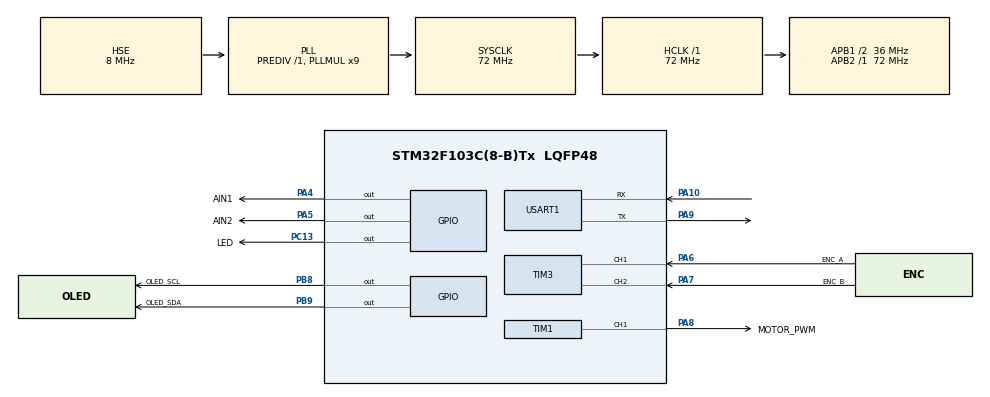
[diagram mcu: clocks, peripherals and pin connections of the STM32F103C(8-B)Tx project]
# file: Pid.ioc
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Mcu.Family=STM32F1
Mcu.Name=STM32F103C(8-B)Tx
Mcu.Package=LQFP48
NVIC.PriorityGroup=NVIC_PRIORITYGROUP_4
NVIC.TIM2_IRQn=true\:1\:0\:true\:false\:true\:true\:true\:true
NVIC.USART1_IRQn=true\:2\:0\:true\:false\:true\:true\:true\:true
PA10.Mode=Asynchronous
PA10.Signal=USART1_RX
PA13.Mode=Serial_Wire
PA13.Signal=SYS_JTMS-SWDIO
PA14.Mode=Serial_Wire
PA14.Signal=SYS_JTCK-SWCLK
PA4.GPIO_Label=AIN1
PA4.GPIO_Speed=GPIO_SPEED_FREQ_HIGH
PA4.Signal=GPIO_Output
PA5.GPIO_Label=AIN2
PA5.GPIO_Speed=GPIO_SPEED_FREQ_HIGH
PA5.Signal=GPIO_Output
PA6.GPIO_Label=ENC_A
PA6.GPIO_PuPd=GPIO_PULLUP
PA6.Signal=S_TIM3_CH1
PA7.GPIO_Label=ENC_B
PA7.GPIO_PuPd=GPIO_PULLUP
PA7.Signal=S_TIM3_CH2
PA8.GPIO_Label=MOTOR_PWM
PA8.GPIO_Speed=GPIO_SPEED_FREQ_HIGH
PA8.Signal=S_TIM1_CH1
PA9.Mode=Asynchronous
PA9.Signal=USART1_TX
PB8.GPIO_Label=OLED_SCL
PB8.GPIO_ModeDefaultOutputPP=GPIO_MODE_OUTPUT_OD
PB8.GPIO_PuPd=GPIO_NOPULL
PB8.GPIO_Speed=GPIO_SPEED_FREQ_HIGH
PB8.PinState=GPIO_PIN_SET
PB8.Signal=GPIO_Output
PB9.GPIO_Label=OLED_SDA
PB9.GPIO_ModeDefaultOutputPP=GPIO_MODE_OUTPUT_OD
PB9.GPIO_PuPd=GPIO_NOPULL
PB9.GPIO_Speed=GPIO_SPEED_FREQ_HIGH
PB9.PinState=GPIO_PIN_SET
PB9.Signal=GPIO_Output
PC13-TAMPER-RTC.GPIO_Label=LED
PC13-TAMPER-RTC.PinState=GPIO_PIN_SET
PC13-TAMPER-RTC.Signal=GPIO_Output
PD0-OSC_IN.Mode=HSE-External-Oscillator
PD0-OSC_IN.Signal=RCC_OSC_IN
PD1-OSC_OUT.Mode=HSE-External-Oscillator
PD1-OSC_OUT.Signal=RCC_OSC_OUT
ProjectManager.HeapSize=0x200
ProjectManager.StackSize=0x400
ProjectManager.TargetToolchain=CMake
RCC.AHBFreq_Value=72000000
RCC.APB1CLKDivider=RCC_HCLK_DIV2
RCC.APB1Freq_Value=36000000
RCC.APB1TimFreq_Value=72000000
RCC.APB2Freq_Value=72000000
RCC.APB2TimFreq_Value=72000000
RCC.HCLKFreq_Value=72000000
RCC.PLLMUL=RCC_PLL_MUL9
RCC.PLLSourceVirtual=RCC_PLLSOURCE_HSE
RCC.SYSCLKFreq_VALUE=72000000
RCC.SYSCLKSource=RCC_SYSCLKSOURCE_PLLCLK
RCC.USBFreq_Value=72000000
SH.S_TIM1_CH1.0=TIM1_CH1,PWM Generation1 CH1
SH.S_TIM3_CH1.0=TIM3_CH1,Encoder_Interface
SH.S_TIM3_CH2.0=TIM3_CH2,Encoder_Interface
TIM1.AutoReloadPreload=TIM_AUTORELOAD_PRELOAD_ENABLE
TIM1.Channel-PWM\ Generation1\ CH1=TIM_CHANNEL_1
TIM1.Period=3600 -1
TIM2.Period=50-1
TIM2.Prescaler=7200-1
TIM3.EncoderMode=TIM_ENCODERMODE_TI12
TIM3.IC1Filter=6
TIM3.IC2Filter=6
USART1.VirtualMode=VM_ASYNC
VP_TIM2_VS_ClockSourceINT.Mode=Internal
board=custom

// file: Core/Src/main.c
/* USER CODE BEGIN Header */
/**
  ******************************************************************************
  * @file           : main.c
  * @brief          : Main program body
  ******************************************************************************
  * @attention
  *
  * Copyright (c) 2026 STMicroelectronics.
  * All rights reserved.
  *
  * This software is licensed under terms that can be found in the LICENSE file
  * in the root directory of this software component.
  * If no LICENSE file comes with this software, it is provided AS-IS.
  *
  ******************************************************************************
  */
/* USER CODE END Header */
#include "main.h"
#include "tim.h"
#include "usart.h"
#include "gpio.h"

/* USER CODE BEGIN Includes */
#include "speed-loop.h"
#include "ui.h"
#include "vofa.h"
#include "uart-link.h"
#include "cmd.h"
#include "motor.h"      /* MOTOR_EmergencyStop() */
/* USER CODE END Includes */

/* USER CODE BEGIN PV */
static uint32_t s_t_ui;     /* 上次刷 OLED 的时刻（ms） */

/* USER CODE END PV */

void SystemClock_Config(void);

int main(void)
{

  /* MCU Configuration--------------------------------------------------------*/

  /* Reset of all peripherals, Initializes the Flash interface and the Systick. */
  HAL_Init();

  /* Configure the system clock */
  SystemClock_Config();

  /* Initialize all configured peripherals */
  MX_GPIO_Init();
  MX_TIM1_Init();
  MX_TIM2_Init();
  MX_TIM3_Init();
  MX_USART1_UART_Init();
  /* USER CODE BEGIN 2 */
  /* ── 应用层初始化（都在 App/ 里，CubeMX 重新生成不会动）──
     顺序：先执行器/控制器，再显示，最后串口和心跳 —— 这样"心跳一响就开始算" */
  SpeedLoop_Init();              /* MOTOR_Init(&htim1) + PID_Init */
  UI_Init();                     /* OLED；没插屏也照样往下跑 */
  UART_Link_Init(&huart1);       /* 开 USART1 中断，开始收命令 */
  Vofa_Init(UART_Link_Write);    /* VOFA 的输出接到串口 */
  SpeedLoop_Start();             /* PWM 起振 + TIM2 的 5 ms 心跳 */

  if (CMD_GetVofa() == 0U)
  {
    UART_Link_Printf("ready. S200 | X=stop | A=step | C=calib | V=vofa | ?=status\r\n");
  }
  /* USER CODE END 2 */

  /* Infinite loop */
  while (1)
  {

    /* USER CODE BEGIN 3 */
    SpeedLoop_Telemetry_t tel;
    uint32_t now = HAL_GetTick();

    /* Serialize only read/clear operations; never print inside a critical section. */
    uint32_t irq_state = __get_PRIMASK();
    __disable_irq();
    uint8_t status_req = CMD_TakeStatusRequest();
    uint8_t vofa_toggle = CMD_TakeVofaToggle();
    if (vofa_toggle != 0U) { CMD_SetVofa(!CMD_GetVofa()); }
    uint8_t vofa_on = CMD_GetVofa();
    __set_PRIMASK(irq_state);
    if ((vofa_toggle != 0U) && (vofa_on == 0U)) { UART_Link_Printf("VOFA OFF\r\n"); }

    /* '?' 状态查询 */
    if (status_req != 0U)
    {
      SpeedLoop_GetTelemetry(&tel);
      /* 增益用 1 位小数打印：调参步长 0.5，用 (int)(x+0.5) 会把 12.5 显示成 13 */
      int kp10 = (int)(tel.kp * 10.0f + 0.5f);
      int ki10 = (int)(tel.ki * 10.0f + 0.5f);
      int kd100 = (int)(tel.kd * 100.0f + 0.5f);
      int kv10 = (int)(tel.kv * 10.0f + 0.5f);

      /* f = 故障码（0 正常），给上位机 / 自动调参判「还能不能继续跑」。
       * 字段固定、以空格分隔，解析器（../tools/pid_autotune.py）按 key=value 取。*/
      UART_Link_Printf("tgt=%d act=%d out=%d kp=%d.%d ki=%d.%d kd=%d.%02d kv=%d.%d tick=%lu rx=%lu err=%lu f=%u miss=%lu\r\n",
                       (int)(tel.target_rpm + (tel.target_rpm >= 0 ? 0.5f : -0.5f)),
                       (int)(tel.actual_rpm + (tel.actual_rpm >= 0 ? 0.5f : -0.5f)),
                       (int)(tel.out_permille + (tel.out_permille >= 0 ? 0.5f : -0.5f)),
                       kp10 / 10, kp10 % 10,
                       ki10 / 10, ki10 % 10,
                       kd100 / 100, kd100 % 100,
                       kv10 / 10, kv10 % 10,
                       (unsigned long)tel.tick,
                       (unsigned long)UART_Link_RxCount(),
                       (unsigned long)UART_Link_ErrCount(),
                       (unsigned)SpeedLoop_FaultCode(),
                       (unsigned long)Vofa_MissedTicks());

      /* 标定模式额外打一行（不打印浮点：用 ×10 的整数避开 newlib printf 浮点支持）*/
      if (tel.calib != 0U)
      {
        UART_Link_Printf("CALIB enc=%ld revx10=%ld\r\n",
                         (long)tel.enc_total,
                         (long)(tel.enc_revs * 10.0f));
      }
    }

    SpeedLoop_GetTelemetry(&tel);

    /* Live VOFA keeps its three-channel format and never replays stale samples. */
    Vofa_Poll(tel.tick, vofa_on, tel.target_rpm, tel.actual_rpm, tel.out_permille);

    /* Text feedback is useful in terminal mode, but silent while streaming. */
    {
      static int32_t last_target;
      static uint8_t last_calib, last_fault;
      uint8_t fault = SpeedLoop_FaultCode();
      if (vofa_on == 0U)
      {
        if ((int32_t)tel.target_rpm != last_target)
        {
          UART_Link_Printf("TGT %d OUT %d\r\n", (int)tel.target_rpm, (int)tel.out_permille);
        }
        if (tel.calib != last_calib) { UART_Link_Printf("CALIB %s\r\n", tel.calib ? "ON" : "OFF"); }
        if (fault != last_fault) { UART_Link_Printf("FAULT %u\r\n", (unsigned)fault); }
      }
      last_target = (int32_t)tel.target_rpm;
      last_calib = tel.calib;
      last_fault = fault;
    }
    if ((now - s_t_ui) >= 1000U)
    {
      s_t_ui = now;
      UI_Refresh(&tel); /* Format only: pads each row, no I2C transaction. */
    }
    UI_Task(tel.tick); /* One bounded display slice, after wave transmission. */
  }
  /* USER CODE END 3 */
}

void SystemClock_Config(void)
{
  RCC_OscInitTypeDef RCC_OscInitStruct = {0};
  RCC_ClkInitTypeDef RCC_ClkInitStruct = {0};

  /** Initializes the RCC Oscillators according to the specified parameters
  * in the RCC_OscInitTypeDef structure.
  */
  RCC_OscInitStruct.OscillatorType = RCC_OSCILLATORTYPE_HSE;
  RCC_OscInitStruct.HSEState = RCC_HSE_ON;
  RCC_OscInitStruct.HSEPredivValue = RCC_HSE_PREDIV_DIV1;
  RCC_OscInitStruct.HSIState = RCC_HSI_ON;
  RCC_OscInitStruct.PLL.PLLState = RCC_PLL_ON;
  RCC_OscInitStruct.PLL.PLLSource = RCC_PLLSOURCE_HSE;
  RCC_OscInitStruct.PLL.PLLMUL = RCC_PLL_MUL9;
  if (HAL_RCC_OscConfig(&RCC_OscInitStruct) != HAL_OK)
  {
    Error_Handler();
  }

  /** Initializes the CPU, AHB and APB buses clocks
  */
  RCC_ClkInitStruct.ClockType = RCC_CLOCKTYPE_HCLK|RCC_CLOCKTYPE_SYSCLK
                              |RCC_CLOCKTYPE_PCLK1|RCC_CLOCKTYPE_PCLK2;
  RCC_ClkInitStruct.SYSCLKSource = RCC_SYSCLKSOURCE_PLLCLK;
  RCC_ClkInitStruct.AHBCLKDivider = RCC_SYSCLK_DIV1;
  RCC_ClkInitStruct.APB1CLKDivider = RCC_HCLK_DIV2;
  RCC_ClkInitStruct.APB2CLKDivider = RCC_HCLK_DIV1;

  if (HAL_RCC_ClockConfig(&RCC_ClkInitStruct, FLASH_LATENCY_2) != HAL_OK)
  {
    Error_Handler();
  }
}

void Error_Handler(void)
{
  /* USER CODE BEGIN Error_Handler_Debug */
  /* User can add his own implementation to report the HAL error return state */
  __disable_irq();
  MOTOR_EmergencyStop();
  while (1)
  {
  }
  /* USER CODE END Error_Handler_Debug */
}
